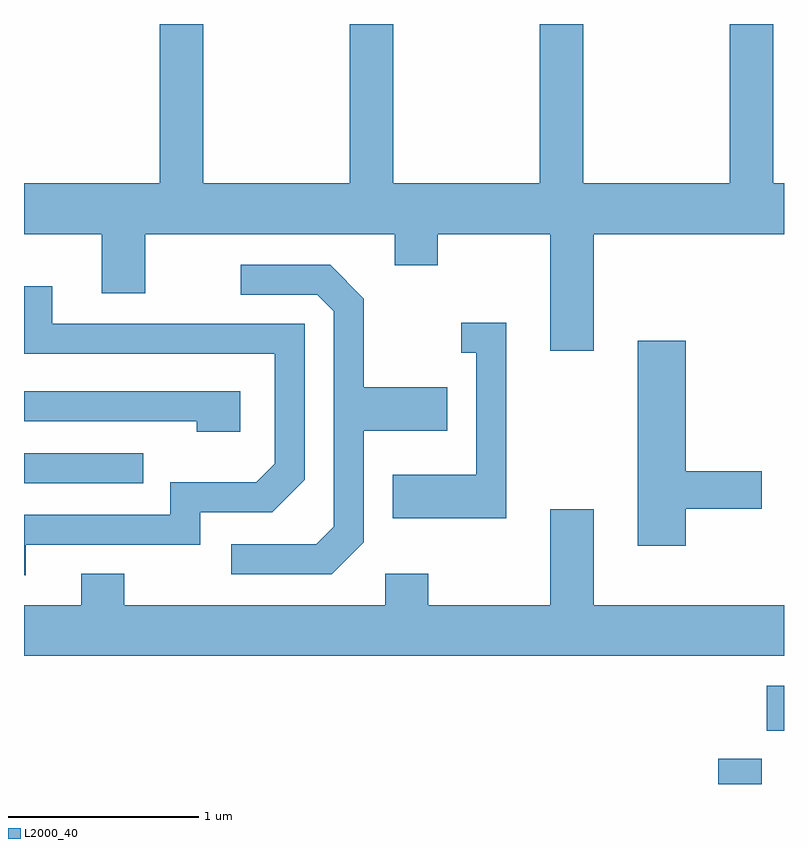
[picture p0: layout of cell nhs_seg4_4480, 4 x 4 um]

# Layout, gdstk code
import gdstk
lib = gdstk.Library(unit=1e-6, precision=1e-09)
def R(c, l, rs):  # rectangles x0, y0, x1, y1
    for r in rs: c.add(gdstk.rectangle(r[:2], r[2:], *l))
def P(c, l, *ps):  # polygons
    for p in ps: c.add(gdstk.Polygon(p, *l))
L2000_40 = (2000, 40)

nhs_seg4_4480 = lib.new_cell('nhs_seg4_4480')
R(nhs_seg4_4480, L2000_40, [(319.266,1373.982,319.494,1374.114), (319.521,1374.263,319.611,1374.499), (315.611,1375.566,316.238,1375.724)])
P(nhs_seg4_4480, L2000_40, [(318.609,1376.876),(319.611,1376.876),(319.611,1377.144),(319.554,1377.144),(319.554,1377.982),(319.326,1377.982),(319.326,1377.144),(318.554,1377.144),(318.554,1377.982),(318.326,1377.982),(318.326,1377.144),(317.554,1377.144),(317.554,1377.982),(317.326,1377.982),(317.326,1377.144),(316.554,1377.144),(316.554,1377.982),(316.326,1377.982),(316.326,1377.144),(315.611,1377.144),(315.611,1376.876),(316.021,1376.876),(316.021,1376.566),(316.249,1376.566),(316.249,1376.876),(317.561,1376.876),(317.561,1376.711),(317.789,1376.711),(317.789,1376.876),(318.381,1376.876),(318.381,1376.261),(318.609,1376.261)],
  [(317.399,1375.254),(317.399,1375.841),(317.839,1375.841),(317.839,1376.069),(317.399,1376.069),(317.399,1376.537),(317.222,1376.714),(316.753,1376.714),(316.753,1376.556),(317.154,1376.556),(317.241,1376.469),(317.241,1375.337),(317.149,1375.244),(316.703,1375.244),(316.703,1375.086),(317.232,1375.086)],
  [(315.619,1375.241),(316.539,1375.241),(316.539,1375.411),(316.917,1375.411),(317.089,1375.584),(317.089,1376.404),(315.759,1376.404),(315.759,1376.603),(315.611,1376.603),(315.611,1376.246),(316.931,1376.246),(316.931,1375.667),(316.834,1375.569),(316.381,1375.569),(316.381,1375.399),(315.611,1375.399),(315.611,1375.081),(315.619,1375.081)],
  [(318.149,1376.409),(317.913,1376.409),(317.913,1376.251),(317.991,1376.251),(317.991,1375.609),(317.551,1375.609),(317.551,1375.381),(318.149,1375.381)],
  [(319.094,1375.431),(319.494,1375.431),(319.494,1375.629),(319.094,1375.629),(319.094,1376.314),(318.841,1376.314),(318.841,1375.236),(319.094,1375.236)],
  [(316.749,1376.049),(315.611,1376.049),(315.611,1375.891),(316.521,1375.891),(316.521,1375.836),(316.749,1375.836)],
  [(319.611,1374.924),(318.609,1374.924),(318.609,1375.429),(318.381,1375.429),(318.381,1374.924),(317.739,1374.924),(317.739,1375.089),(317.511,1375.089),(317.511,1374.924),(316.139,1374.924),(316.139,1375.089),(315.911,1375.089),(315.911,1374.924),(315.611,1374.924),(315.611,1374.656),(319.611,1374.656)])

lib.write_gds('nhs_seg4_4480.gds')
